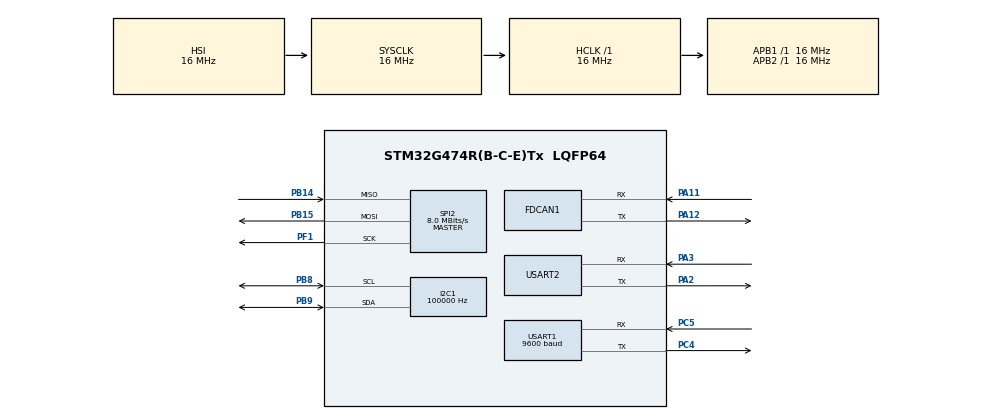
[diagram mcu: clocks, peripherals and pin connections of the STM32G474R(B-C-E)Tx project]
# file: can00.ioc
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Dma.Request0=USART1_RX
Dma.USART1_RX.0.Direction=DMA_PERIPH_TO_MEMORY
Dma.USART1_RX.0.EventEnable=DISABLE
Dma.USART1_RX.0.Instance=DMA1_Channel1
Dma.USART1_RX.0.MemDataAlignment=DMA_MDATAALIGN_BYTE
Dma.USART1_RX.0.MemInc=DMA_MINC_ENABLE
Dma.USART1_RX.0.Mode=DMA_CIRCULAR
Dma.USART1_RX.0.PeriphDataAlignment=DMA_PDATAALIGN_BYTE
Dma.USART1_RX.0.PeriphInc=DMA_PINC_DISABLE
Dma.USART1_RX.0.Polarity=HAL_DMAMUX_REQ_GEN_RISING
Dma.USART1_RX.0.Priority=DMA_PRIORITY_LOW
Dma.USART1_RX.0.RequestNumber=1
Dma.USART1_RX.0.SignalID=NONE
Dma.USART1_RX.0.SyncEnable=DISABLE
Dma.USART1_RX.0.SyncPolarity=HAL_DMAMUX_SYNC_NO_EVENT
Dma.USART1_RX.0.SyncRequestNumber=1
Dma.USART1_RX.0.SyncSignalID=NONE
FDCAN1.AutoRetransmission=ENABLE
FDCAN1.CalculateBaudRateNominal=500000
FDCAN1.CalculateTimeBitNominal=2000
FDCAN1.CalculateTimeQuantumNominal=250.0
FDCAN1.DataPrescaler=1
FDCAN1.DataTimeSeg1=1
FDCAN1.FrameFormat=FDCAN_FRAME_CLASSIC
FDCAN1.Mode=FDCAN_MODE_NORMAL
FDCAN1.NominalPrescaler=4
FDCAN1.NominalTimeSeg1=6
FDCAN1.StdFiltersNbr=1
FREERTOS.Tasks01=defaultTask,24,128,StartDefaultTask,Default,NULL,Dynamic,NULL,NULL
Mcu.Family=STM32G4
Mcu.Name=STM32G474R(B-C-E)Tx
Mcu.Package=LQFP64
NVIC.DMA1_Channel1_IRQn=true\:5\:0\:false\:false\:true\:true\:false\:true\:true
NVIC.FDCAN1_IT0_IRQn=true\:5\:0\:false\:false\:true\:true\:true\:true\:true
NVIC.PriorityGroup=NVIC_PRIORITYGROUP_4
NVIC.USART1_IRQn=true\:5\:0\:false\:false\:true\:true\:false\:true\:true
NVIC.USART2_IRQn=true\:5\:0\:false\:false\:true\:true\:false\:true\:true
PA11.Mode=FDCAN_Activate
PA11.Signal=FDCAN1_RX
PA12.Mode=FDCAN_Activate
PA12.Signal=FDCAN1_TX
PA2.Mode=Asynchronous
PA2.Signal=USART2_TX
PA3.Mode=Asynchronous
PA3.Signal=USART2_RX
PB14.Mode=Full_Duplex_Master
PB14.Signal=SPI2_MISO
PB15.Mode=Full_Duplex_Master
PB15.Signal=SPI2_MOSI
PB8.Mode=I2C
PB8.Signal=I2C1_SCL
PB9.Mode=I2C
PB9.Signal=I2C1_SDA
PC4.Mode=Asynchronous
PC4.Signal=USART1_TX
PC5.Mode=Asynchronous
PC5.Signal=USART1_RX
PF1-OSC_OUT.Mode=Full_Duplex_Master
PF1-OSC_OUT.Signal=SPI2_SCK
ProjectManager.HeapSize=0x200
ProjectManager.StackSize=0x400
ProjectManager.TargetToolchain=MDK-ARM V5.32
RCC.AHBFreq_Value=16000000
RCC.APB1Freq_Value=16000000
RCC.APB1TimFreq_Value=16000000
RCC.APB2Freq_Value=16000000
RCC.APB2TimFreq_Value=16000000
RCC.CortexFreq_Value=16000000
RCC.EXTERNAL_CLOCK_VALUE=12288000
RCC.HCLKFreq_Value=16000000
RCC.HSE_VALUE=8000000
RCC.HSI48_VALUE=48000000
RCC.HSI_VALUE=16000000
RCC.LSE_VALUE=32768
RCC.SYSCLKFreq_VALUE=16000000
RCC.USBFreq_Value=64000000
RCC.VCOOutputFreq_Value=128000000
SPI2.CLKPhase=SPI_PHASE_1EDGE
SPI2.CalculateBaudRate=8.0 MBits/s
SPI2.DataSize=SPI_DATASIZE_8BIT
SPI2.Direction=SPI_DIRECTION_2LINES
SPI2.Mode=SPI_MODE_MASTER
SPI2.VirtualType=VM_MASTER
USART1.BaudRate=9600
USART1.VirtualMode-Asynchronous=VM_ASYNC
USART2.VirtualMode-Asynchronous=VM_ASYNC
I2C1.ClockSpeed=100000
I2C1.DutyCycle=I2C_DUTYCYCLE_2
I2C1.OwnAddress1=0
I2C1.AddressingMode=I2C_ADDRESSINGMODE_7BIT
I2C1.DualAddressMode=I2C_DUALADDRESS_DISABLE
I2C1.OwnAddress2=0
I2C1.GeneralCallMode=I2C_GENERALCALL_DISABLE
I2C1.NoStretchMode=I2C_NOSTRETCH_DISABLE
IWDG.Prescaler=IWDG_PRESCALER_64
IWDG.Reload=3999
IWDG.Window=IWDG_WINDOW_DISABLE
VP_FREERTOS_VS_CMSIS_V2.Mode=CMSIS_V2
VP_SYS_VS_DBSignals.Mode=DisableDeadBatterySignals
board=custom

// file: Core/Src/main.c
/* USER CODE BEGIN Header */
/**
  ******************************************************************************
  * @file           : main.c
  * @brief          : Main program body
  ******************************************************************************
  * @attention
  *
  * Copyright (c) 2026 STMicroelectronics.
  * All rights reserved.
  *
  * This software is licensed under terms that can be found in the LICENSE file
  * in the root directory of this software component.
  * If no LICENSE file comes with this software, it is provided AS-IS.
  *
  ******************************************************************************
  */
/* USER CODE END Header */
#include "main.h"
#include "cmsis_os.h"
#include "canopen_node_config.h"
#include "canopen_port.h"
#include "esp32_at.h"
#include "esp32_mqtt_config.h"
#include "ssd1306.h"
#include "vehicle_alarm.h"
#include "accident_detector.h"
#include <stdio.h>

/* USER CODE BEGIN PTD */

typedef struct
{
  FDCAN_RxHeaderTypeDef header;
  uint8_t data[64];
} CanRxMessage_t;

typedef struct
{
  volatile uint32_t receivedCount;
  volatile uint32_t lastSequence;
  volatile uint32_t lostCount;
  volatile uint32_t lastReceiveTick;
  volatile uint32_t interArrivalMs;
  volatile uint32_t jitterMs;
  volatile uint32_t maxInterArrivalMs;
  volatile uint32_t maxJitterMs;
  volatile uint32_t senderTick;
  volatile uint32_t receiveTick;
  volatile uint8_t initialized;
} CanNodeStats_t; /* 瀹氫箟鑺傜偣缁熻缁撴瀯浣撶被鍨嬪悕绉般€?*/

/* USER CODE END PTD */

static uint8_t FdcanDataLengthBytes(uint32_t dataLengthCode)
{
  switch (dataLengthCode)
  {
    case FDCAN_DLC_BYTES_0: return 0U;
    case FDCAN_DLC_BYTES_1: return 1U;
    case FDCAN_DLC_BYTES_2: return 2U;
    case FDCAN_DLC_BYTES_3: return 3U;
    case FDCAN_DLC_BYTES_4: return 4U;
    case FDCAN_DLC_BYTES_5: return 5U;
    case FDCAN_DLC_BYTES_6: return 6U;
    case FDCAN_DLC_BYTES_7: return 7U;
    case FDCAN_DLC_BYTES_8: return 8U;
    case FDCAN_DLC_BYTES_12: return 12U;
    case FDCAN_DLC_BYTES_16: return 16U;
    case FDCAN_DLC_BYTES_20: return 20U;
    case FDCAN_DLC_BYTES_24: return 24U;
    case FDCAN_DLC_BYTES_32: return 32U;
    case FDCAN_DLC_BYTES_48: return 48U;
    case FDCAN_DLC_BYTES_64: return 64U;
    default: return 0U;
  }
}

/* USER CODE BEGIN PD */

#define CAN_ID_NODE_A 0x100U /* 鑺傜偣 A 鐨?ID 鏈€灏忥紝鍥犳鍏锋湁鏈€楂樹徊瑁佷紭鍏堢骇銆?*/
#define CAN_ID_NODE_B 0x300U /* 鑺傜偣 B 鐨勪徊瑁佷紭鍏堢骇浣庝簬鑺傜偣 A銆?*/
#define CAN_ID_NODE_C 0x500U /* 鑺傜偣 C 鐨勪徊瑁佷紭鍏堢骇鏈€浣庛€?*/
#define CAN_ID_TIME_SYNC 0x080U /* 鍚屾鎶ユ枃 ID 浣庝簬涓氬姟鎶ユ枃锛屽叿鏈夋洿楂樹徊瑁佷紭鍏堢骇銆?*/
#define CAN_TAG_NODE_A 0xA1U /* 鑺傜偣 A 鍦ㄦ暟鎹瓧鑺?4 涓啓鍏ユ鏍囪瘑銆?*/
#define CAN_TAG_NODE_B 0xB1U /* 鑺傜偣 B 鍦ㄦ暟鎹瓧鑺?4 涓啓鍏ユ鏍囪瘑銆?*/
#define CAN_TAG_NODE_C 0xC1U /* 鑺傜偣 C 鍦ㄦ暟鎹瓧鑺?4 涓啓鍏ユ鏍囪瘑銆?*/
#define CAN_TAG_TIME_SYNC 0x5AU /* 鎺ユ敹绔娇鐢ㄨ鏍囪瘑璇嗗埆鏃堕棿鍚屾鎶ユ枃銆?*/

#define CAN_NODE_A_PERIOD_MS 10U /* 鑺傜偣 A 鐨勭悊璁哄彂閫佸懆鏈熶负 10 ms銆?*/
#define CAN_NODE_B_PERIOD_MS 20U /* 鑺傜偣 B 鐨勭悊璁哄彂閫佸懆鏈熶负 20 ms銆?*/
#define CAN_NODE_C_PERIOD_MS 100U /* 鑺傜偣 C 鐨勭悊璁哄彂閫佸懆鏈熶负 100 ms銆?*/
#define CAN_TIME_SYNC_PERIOD_MS 100U /* 鑺傜偣 A 姣?100 ms 鍙戝竷涓€娆′富鏃堕挓銆?*/
#define CAN_LEGACY_TIME_SYNC_ENABLE 0U /* CANopen 宸ョ▼涓嶅啀鍙戦€佽嚜瀹氫箟鏃堕棿鎴冲悓姝ュ抚銆?*/
#define CAN_TIMESTAMP_OFFSET 8U /* 鍙戦€佹椂闂存埑浠庢暟鎹瓧鑺?8 寮€濮嬪瓨鏀俱€?*/
#define CAN_SCHED_MODE_FIXED_PRIORITY 0U /* 浣跨敤鍥哄畾 CAN ID 鍜屽浐瀹氬彂閫佸懆鏈熴€?*/
#define CAN_SCHED_MODE CAN_SCHED_MODE_FIXED_PRIORITY /* 鍚庣画绛栫暐瀵规瘮鏃跺彲鎵╁睍姝ゅ畯銆?*/

#if (CAN_NODE_ROLE == CAN_NODE_ROLE_A) /* 鍒ゆ柇鏄惁缂栬瘧鑺傜偣 A 鍥轰欢銆?*/
#define CAN_LOCAL_TX_ID CAN_ID_NODE_A /* 鑺傜偣 A 浣跨敤鏈€楂樹紭鍏堢骇鐨?0x100銆?*/
#define CAN_LOCAL_NODE_TAG CAN_TAG_NODE_A /* 鑺傜偣 A 鍐欏叆鑷繁鐨勫簲鐢ㄥ眰鏍囪瘑銆?*/
#define CAN_LOCAL_TX_PERIOD_MS CAN_NODE_A_PERIOD_MS /* 鑺傜偣 A 姣?10 ms 鍙戦€佷竴甯ф帶鍒舵姤鏂囥€?*/
#elif (CAN_NODE_ROLE == CAN_NODE_ROLE_B) /* 鍒ゆ柇鏄惁缂栬瘧鑺傜偣 B 鍥轰欢銆?*/
#define CAN_LOCAL_TX_ID CAN_ID_NODE_B /* 鑺傜偣 B 浣跨敤涓紭鍏堢骇鐨?0x300銆?*/
#define CAN_LOCAL_NODE_TAG CAN_TAG_NODE_B /* 鑺傜偣 B 鍐欏叆鑷繁鐨勫簲鐢ㄥ眰鏍囪瘑銆?*/
#define CAN_LOCAL_TX_PERIOD_MS CAN_NODE_B_PERIOD_MS /* 鑺傜偣 B 姣?20 ms 鍙戦€佷竴甯х姸鎬佹姤鏂囥€?*/
#elif (CAN_NODE_ROLE == CAN_NODE_ROLE_C) /* 鍒ゆ柇鏄惁缂栬瘧鑺傜偣 C 鍥轰欢銆?*/
#define CAN_LOCAL_TX_ID CAN_ID_NODE_C /* 鑺傜偣 C 浣跨敤浣庝紭鍏堢骇鐨?0x500銆?*/
#define CAN_LOCAL_NODE_TAG CAN_TAG_NODE_C /* 鑺傜偣 C 鍐欏叆鑷繁鐨勫簲鐢ㄥ眰鏍囪瘑銆?*/
#define CAN_LOCAL_TX_PERIOD_MS CAN_NODE_C_PERIOD_MS /* 鑺傜偣 C 姣?100 ms 鍙戦€佷竴甯х洃娴嬫姤鏂囥€?*/
#else /* 褰撳墠瑙掕壊缂栧彿涓嶅湪鍏佽鑼冨洿鍐呫€?*/
#error "CAN_NODE_ROLE 蹇呴』璁剧疆涓?CAN_NODE_ROLE_A銆丆AN_NODE_ROLE_B 鎴?CAN_NODE_ROLE_C" /* 闃绘鐢熸垚瑙掕壊閰嶇疆閿欒鐨勫浐浠躲€?*/
#endif /* 缁撴潫鏈満鍙戦€佸弬鏁伴€夋嫨銆?*/

/* USER CODE END PD */

/* USER CODE BEGIN PM */

#define APP_LED_GPIO_Port GPIOA /* 瀹氫箟鐢ㄦ埛 LED 鎵€杩炴帴鐨?GPIO 绔彛銆?*/
#define APP_LED_Pin GPIO_PIN_5 /* 瀹氫箟鐢ㄦ埛 LED 鎵€杩炴帴鐨?GPIO 寮曡剼銆?*/

/* USER CODE END PM */

FDCAN_HandleTypeDef hfdcan1;

I2C_HandleTypeDef hi2c1;

SPI_HandleTypeDef hspi2;

UART_HandleTypeDef huart1;
UART_HandleTypeDef huart2;
DMA_HandleTypeDef hdma_usart1_rx;
IWDG_HandleTypeDef hiwdg;
volatile ESP32_Status_t esp32Status;
volatile VehicleAlarmStatus_t vehicleAlarmStatus;
  volatile AccidentDetectorStatus_t accidentStatus;
  static ESP32_AccidentPersist_t accidentPersistSnapshot;

osThreadId_t defaultTaskHandle;
const osThreadAttr_t defaultTask_attributes = {
  .name = "defaultTask",
  .priority = (osPriority_t) osPriorityNormal,
  .stack_size = 128 * 4
};
/* USER CODE BEGIN PV */

static QueueHandle_t canRxQueue;
static volatile uint32_t rxCount;
volatile CanOpenPortDiagnostics_t diagnostics;
volatile HAL_StatusTypeDef icm42688Status;
volatile uint8_t icm42688WhoAmI;
  volatile ICM42688_RawData_t icm42688RawData;
  volatile BH182_Data_t bh182Data;
  volatile HAL_StatusTypeDef bh182Status;
static uint32_t icm42688LastSampleTick;
#if (CAN_NODE_ROLE == CAN_NODE_ROLE_B)
#define APP_IMU_SAMPLE_PERIOD_MS 1U
#else
#define APP_IMU_SAMPLE_PERIOD_MS 10U
#endif
static uint32_t accidentLastUpdateTick;
static uint8_t lastReportedAccidentEvent;
static volatile uint32_t rxSequence;
static volatile uint32_t rxCountA;
static volatile uint32_t rxSequenceA;
static volatile uint32_t rxCountB;
static volatile uint32_t rxSequenceB;
static volatile uint32_t rxCountC;
static volatile uint32_t rxSequenceC;
static volatile uint32_t rxQueueDropCount;
static volatile CanNodeStats_t rxStatsA;
static volatile CanNodeStats_t rxStatsB;
static volatile CanNodeStats_t rxStatsC;
static volatile int32_t canTimeOffsetMs;
static volatile uint32_t canSyncRxCount;
static volatile uint32_t canMasterTick;
static volatile uint32_t canSyncLocalTick;
static volatile uint32_t canSyncOffsetAbsMs;
static TaskHandle_t canTxTaskHandle;
static TaskHandle_t canRxTaskHandle;

static TaskHandle_t canRecoveryTaskHandle;
static TaskHandle_t esp32MqttTaskHandle;
static volatile uint32_t appHeartbeatTick;
static uint32_t vehicleAlarmLastUpdateTick;
volatile HAL_StatusTypeDef oledStatus;
static TaskHandle_t oledTaskHandle;
static volatile uint32_t canErrorCallbackCount;
static volatile uint32_t canErrorWarningCount;
static volatile uint32_t canErrorPassiveCount;
static volatile uint32_t canBusOffCount;
static volatile uint8_t canBusOffActive;
static volatile uint32_t canRecoveryCount;
static volatile uint32_t canRecoveryFailCount;
static volatile uint32_t canRecoveryConsecutiveBusOff;
static volatile uint32_t canRecoveryLastBusOffTick;
static volatile uint32_t canRecoveryNextAttemptTick;
static volatile uint8_t canRecoveryLocked;

/* USER CODE END PV */

void SystemClock_Config(void);
static void MX_GPIO_Init(void);
static void MX_DMA_Init(void);
static void MX_FDCAN1_Init(void);
static void MX_I2C1_Init(void);
static void MX_SPI2_Init(void);
static void MX_USART1_UART_Init(void);
static void MX_USART2_UART_Init(void);
static void MX_IWDG_Init(void);
void StartDefaultTask(void *argument);

/* USER CODE BEGIN PFP */

static void CanTxTask(void *argument);
static void CanRxTask(void *argument);
static void CanRecoveryTask(void *argument);
static void CanRecovery_RecordFailure(void);
static void IwdgMonitorTask(void *argument);
static void OledDashboardTask(void *argument);
static uint32_t CanDecodeSequence(const uint8_t *data);
static uint32_t CanDecodeTimestamp(const uint8_t *data);
static void CanUpdateNodeStats(volatile CanNodeStats_t *stats, /* 浼犲叆寰呮洿鏂扮殑鑺傜偣缁熻瀵硅薄銆?*/
                               uint32_t receivedSequence, /* 浼犲叆褰撳墠鎶ユ枃鐨勫簲鐢ㄥ眰搴忓彿銆?*/
                               uint32_t senderTick, /* 浼犲叆褰撳墠鎶ユ枃鐨勫彂閫佺鑺傛媿銆?*/
                               uint32_t expectedPeriodMs); /* 浼犲叆璇ヨ妭鐐圭殑鐞嗚鍛ㄦ湡銆?*/
static uint32_t CanGetGlobalTick(void);

/* USER CODE END PFP */

int main(void)
{

  HAL_Init();

  SystemClock_Config();

  MX_IWDG_Init();

  MX_GPIO_Init();
  MX_DMA_Init();
  MX_FDCAN1_Init();
  MX_I2C1_Init();
  MX_SPI2_Init();
  MX_USART1_UART_Init();
  MX_USART2_UART_Init();
  /* USER CODE BEGIN 2 */
  icm42688Status = ICM42688_Init(&hspi2, GPIOB, GPIO_PIN_12);
  if (icm42688Status == HAL_OK)
  {
    icm42688Status = ICM42688_ReadWhoAmI((uint8_t *)&icm42688WhoAmI);
  }
  if (BH182_Init(&huart1) != HAL_OK)
  {
    bh182Status = HAL_ERROR;
    memset((void *)&bh182Data, 0, sizeof(bh182Data));
  }
  else
  {
    bh182Status = BH182_Start();
  }
  if (ESP32_Init(&huart2) != HAL_OK)
  {
    esp32Status.state = ESP32_STATE_OFFLINE;
  }
  else
  {
    if (ESP32_StartReceive() != HAL_OK)
    {
      esp32Status.state = ESP32_STATE_OFFLINE;
    }
  }
  oledStatus = SSD1306_Init(&hi2c1, (uint16_t)(0x3CU << 1U));
  VehicleAlarm_Init();
  AccidentDetector_Init();
  if (ESP32_Persist_LoadAccident(&accidentPersistSnapshot) == HAL_OK)
  {
    AccidentDetector_RestoreLastEventId(accidentPersistSnapshot.lastEventId);
  }
////////////////////////////////////////////閰嶇疆杩囨护鍣ㄥ苟鍚姩 FDCAN1/////////////////////////////////////////
  FDCAN_FilterTypeDef canFilter = {0};
  canFilter.IdType = FDCAN_STANDARD_ID;
  canFilter.FilterIndex = 0U;
  canFilter.FilterType = FDCAN_FILTER_MASK;
  canFilter.FilterConfig = FDCAN_FILTER_TO_RXFIFO0;
  canFilter.FilterID1 = 0x000U;
  canFilter.FilterID2 = 0x000U;
  if (HAL_FDCAN_ConfigFilter(&hfdcan1, &canFilter) != HAL_OK)
  {
    Error_Handler();
  }
  if (HAL_FDCAN_ConfigGlobalFilter(&hfdcan1, /* 閰嶇疆 FDCAN1 鐨勫叏灞€杩囨护鍣ㄣ€?*/
                                   FDCAN_ACCEPT_IN_RX_FIFO0, /* 灏嗘湭鍖归厤鐨勬爣鍑嗗抚璺敱鍒?RX FIFO0銆?*/
                                   FDCAN_ACCEPT_IN_RX_FIFO0, /* 灏嗘湭鍖归厤鐨勬墿灞曞抚璺敱鍒?RX FIFO0銆?*/
                                   FDCAN_REJECT_REMOTE, /* 鎷掔粷鏈尮閰嶇殑鏍囧噯杩滅▼甯с€?*/
                                   FDCAN_REJECT_REMOTE) != HAL_OK) /* 鎷掔粷鏈尮閰嶇殑鎵╁睍杩滅▼甯с€?*/
  {
    Error_Handler();
  }
  if (HAL_FDCAN_Start(&hfdcan1) != HAL_OK)
  {
    Error_Handler();
  }
  if (CanOpenPort_StackInit(CANOPEN_NODE_ID) != CO_ERROR_NO)
  {
    Error_Handler();
  }
  if (HAL_FDCAN_ActivateNotification(&hfdcan1, /* 涓?FDCAN1 寮€鍚€氱煡鍔熻兘銆?*/
                                     FDCAN_IT_RX_FIFO0_NEW_MESSAGE | /* 寮€鍚?RX FIFO0 鏂版姤鏂囦腑鏂€?*/
                                     FDCAN_IT_ERROR_WARNING | /* 寮€鍚?Error Warning 鐘舵€佸彉鍖栦腑鏂€?*/
                                     FDCAN_IT_ERROR_PASSIVE | /* 寮€鍚?Error Passive 鐘舵€佸彉鍖栦腑鏂€?*/
                                     FDCAN_IT_BUS_OFF, /* 寮€鍚?Bus-Off 鐘舵€佸彉鍖栦腑鏂€?*/
                                     0U) != HAL_OK) /* 涓嶅紑鍚?TX 缂撳啿鍖轰腑鏂帺鐮併€?*/
  {
    Error_Handler();
  }

  /* USER CODE END 2 */

  osKernelInitialize();

  /* USER CODE BEGIN RTOS_QUEUES */
  canRxQueue = xQueueCreate(8U, sizeof(CanRxMessage_t));
  if (canRxQueue == NULL)
  {
    Error_Handler();
  }
  /* USER CODE END RTOS_QUEUES */

  defaultTaskHandle = osThreadNew(StartDefaultTask, NULL, &defaultTask_attributes);

  /* USER CODE BEGIN RTOS_THREADS */
  if (xTaskCreate(CanTxTask, /* 鎸囧畾鍙戦€佷换鍔″叆鍙ｅ嚱鏁般€?*/
                  "canTxTask", /* 鎸囧畾鍙戦€佷换鍔″悕绉般€?*/
                  256U, /* 涓哄彂閫佷换鍔″垎閰?256 涓?FreeRTOS 鏍堝瓧銆?*/
                  NULL, /* 鍙戦€佷换鍔′笉鎺ユ敹浠诲姟鍙傛暟銆?*/
                  tskIDLE_PRIORITY + 2U, /* 灏嗗彂閫佷换鍔¤缃负鏅€氫紭鍏堢骇銆?*/
                  &canTxTaskHandle) != pdPASS) /* 妫€鏌ュ彂閫佷换鍔″垱寤虹粨鏋溿€?*/
  {
    Error_Handler();
  }
  if (xTaskCreate(CanRxTask, /* 鎸囧畾鎺ユ敹浠诲姟鍏ュ彛鍑芥暟銆?*/
                  "canRxTask", /* 鎸囧畾鎺ユ敹浠诲姟鍚嶇О銆?*/
                  256U, /* 涓烘帴鏀朵换鍔″垎閰?256 涓?FreeRTOS 鏍堝瓧銆?*/
                  NULL, /* 鎺ユ敹浠诲姟涓嶆帴鏀朵换鍔″弬鏁般€?*/
                  tskIDLE_PRIORITY + 3U, /* 灏嗘帴鏀朵换鍔¤缃负楂樹簬鍙戦€佷换鍔°€?*/
                  &canRxTaskHandle) != pdPASS) /* 妫€鏌ユ帴鏀朵换鍔″垱寤虹粨鏋溿€?*/
  {
    Error_Handler();
  }
  if (xTaskCreate(CanRecoveryTask, /* 鎸囧畾 CAN 鏁呴殰鎭㈠浠诲姟鍏ュ彛鍑芥暟銆?*/
                  "canRecoveryTask", /* 鎸囧畾 CAN 鏁呴殰鎭㈠浠诲姟鍚嶇О銆?*/
                  256U, /* 涓烘仮澶嶄换鍔″垎閰?256 涓?FreeRTOS 鏍堝瓧銆?*/
                  NULL, /* 鎭㈠浠诲姟涓嶆帴鏀朵换鍔″弬鏁般€?*/
                  tskIDLE_PRIORITY + 4U, /* 璁剧疆鎭㈠浠诲姟浼樺厛绾ч珮浜庢敹鍙戜换鍔°€?*/
                  &canRecoveryTaskHandle) != pdPASS) /* 妫€鏌ユ仮澶嶄换鍔″垱寤虹粨鏋溿€?*/
  {
    Error_Handler();
  }
  CanOpenPort_RestoreAccidentState(&accidentPersistSnapshot);
  if (xTaskCreate(IwdgMonitorTask, /* 鎸囧畾鐪嬮棬鐙楃洃鎺т换鍔″叆鍙ｅ嚱鏁般€?*/
                  "iwdgMonitor", /* 鎸囧畾鐪嬮棬鐙椾换鍔″悕绉般€?*/
                  128U, /* 涓虹湅闂ㄧ嫍浠诲姟鍒嗛厤鏈€灏忚繍琛屾爤銆?*/
                  NULL, /* 鐪嬮棬鐙椾换鍔′笉鎺ユ敹浠诲姟鍙傛暟銆?*/
                  tskIDLE_PRIORITY + 5U, /* 璁剧疆楂樹簬搴旂敤浠诲姟鐨勪紭鍏堢骇銆?*/
                  NULL) != pdPASS) /* 妫€鏌ョ湅闂ㄧ嫍浠诲姟鍒涘缓缁撴灉銆?*/
  {
    Error_Handler();
  }
#if (CAN_NODE_ROLE == CAN_NODE_ROLE_A)
  if (xTaskCreate(OledDashboardTask, /* 鎸囧畾 OLED 鏄剧ず浠诲姟鍏ュ彛鍑芥暟銆?*/
                  "oledTask", /* 鎸囧畾 OLED 浠诲姟鍚嶇О銆?*/
                  384U, /* 涓烘牸寮忓寲瀛楃涓插拰鏄剧ず浠诲姟鍒嗛厤鏍堢┖闂淬€?*/
                  NULL, /* OLED 浠诲姟涓嶆帴鏀朵换鍔″弬鏁般€?*/
                  tskIDLE_PRIORITY + 1U, /* 璁剧疆浣庝簬 CAN 鎺ユ敹浠诲姟鐨勪紭鍏堢骇銆?*/
                  &oledTaskHandle) != pdPASS) /* 妫€鏌?OLED 浠诲姟鍒涘缓缁撴灉銆?*/
  {
    oledStatus = HAL_ERROR;
  }
  if (xTaskCreate(ESP32_MqttTask, /* 鎸囧畾 ESP32 MQTT 浠诲姟鍏ュ彛鍑芥暟銆?*/
                  "esp32Mqtt", /* 鎸囧畾 ESP32 MQTT 浠诲姟鍚嶇О銆?*/
                  512U, /* 涓?JSON 鍜?AT 鍛戒护缂撳瓨鍒嗛厤 512 涓?FreeRTOS 鏍堝瓧銆?*/
                  NULL, /* MQTT 浠诲姟涓嶆帴鏀朵换鍔″弬鏁般€?*/
                  tskIDLE_PRIORITY + 1U, /* 璁剧疆浣庝簬 CAN 鎺ユ敹浠诲姟鐨勬櫘閫氫紭鍏堢骇銆?*/
                  &esp32MqttTaskHandle) != pdPASS) /* 妫€鏌?MQTT 浠诲姟鍒涘缓缁撴灉銆?*/
  {
    esp32Status.state = ESP32_STATE_ERROR;
  }
#endif
  /* USER CODE END RTOS_THREADS */

  osKernelStart();

  while (1)
  {

  }
}

void SystemClock_Config(void)
{
  RCC_OscInitTypeDef RCC_OscInitStruct = {0};
  RCC_ClkInitTypeDef RCC_ClkInitStruct = {0};

  /** Configure the main internal regulator output voltage
  */
  HAL_PWREx_ControlVoltageScaling(PWR_REGULATOR_VOLTAGE_SCALE1);

  /** Initializes the RCC Oscillators according to the specified parameters
  * in the RCC_OscInitTypeDef structure.
  */
  RCC_OscInitStruct.OscillatorType = RCC_OSCILLATORTYPE_HSI;
  RCC_OscInitStruct.HSIState = RCC_HSI_ON;
  RCC_OscInitStruct.HSICalibrationValue = RCC_HSICALIBRATION_DEFAULT;
  RCC_OscInitStruct.PLL.PLLState = RCC_PLL_NONE;
  if (HAL_RCC_OscConfig(&RCC_OscInitStruct) != HAL_OK)
  {
    Error_Handler();
  }

  /** Initializes the CPU, AHB and APB buses clocks
  */
  RCC_ClkInitStruct.ClockType = RCC_CLOCKTYPE_HCLK|RCC_CLOCKTYPE_SYSCLK
                              |RCC_CLOCKTYPE_PCLK1|RCC_CLOCKTYPE_PCLK2;
  RCC_ClkInitStruct.SYSCLKSource = RCC_SYSCLKSOURCE_HSI;
  RCC_ClkInitStruct.AHBCLKDivider = RCC_SYSCLK_DIV1;
  RCC_ClkInitStruct.APB1CLKDivider = RCC_HCLK_DIV1;
  RCC_ClkInitStruct.APB2CLKDivider = RCC_HCLK_DIV1;

  if (HAL_RCC_ClockConfig(&RCC_ClkInitStruct, FLASH_LATENCY_0) != HAL_OK)
  {
    Error_Handler();
  }
}

static void MX_FDCAN1_Init(void)
{

  hfdcan1.Instance = FDCAN1;
  hfdcan1.Init.ClockDivider = FDCAN_CLOCK_DIV1;
  hfdcan1.Init.FrameFormat = FDCAN_FRAME_CLASSIC;
  hfdcan1.Init.Mode = FDCAN_MODE_NORMAL;
  hfdcan1.Init.AutoRetransmission = ENABLE;
  hfdcan1.Init.TransmitPause = DISABLE;
  hfdcan1.Init.ProtocolException = DISABLE;
  hfdcan1.Init.NominalPrescaler = 4;
  hfdcan1.Init.NominalSyncJumpWidth = 1;
  hfdcan1.Init.NominalTimeSeg1 = 6;
  hfdcan1.Init.NominalTimeSeg2 = 1;
  hfdcan1.Init.DataPrescaler = 1;
  hfdcan1.Init.DataSyncJumpWidth = 1;
  hfdcan1.Init.DataTimeSeg1 = 1;
  hfdcan1.Init.DataTimeSeg2 = 1;
  hfdcan1.Init.StdFiltersNbr = 1;
  hfdcan1.Init.ExtFiltersNbr = 0;
  hfdcan1.Init.TxFifoQueueMode = FDCAN_TX_FIFO_OPERATION;
  if (HAL_FDCAN_Init(&hfdcan1) != HAL_OK)
  {
    Error_Handler();
  }

}

static void MX_SPI2_Init(void)
{

  hspi2.Instance = SPI2;
  hspi2.Init.Mode = SPI_MODE_MASTER;
  hspi2.Init.Direction = SPI_DIRECTION_2LINES;
  hspi2.Init.DataSize = SPI_DATASIZE_8BIT;
  hspi2.Init.CLKPolarity = SPI_POLARITY_LOW;
  hspi2.Init.CLKPhase = SPI_PHASE_1EDGE;
  hspi2.Init.NSS = SPI_NSS_SOFT;
  hspi2.Init.BaudRatePrescaler = SPI_BAUDRATEPRESCALER_2;
  hspi2.Init.FirstBit = SPI_FIRSTBIT_MSB;
  hspi2.Init.TIMode = SPI_TIMODE_DISABLE;
  hspi2.Init.CRCCalculation = SPI_CRCCALCULATION_DISABLE;
  hspi2.Init.CRCPolynomial = 7;
  hspi2.Init.CRCLength = SPI_CRC_LENGTH_DATASIZE;
  hspi2.Init.NSSPMode = SPI_NSS_PULSE_ENABLE;
  if (HAL_SPI_Init(&hspi2) != HAL_OK)
  {
    Error_Handler();
  }

}

static void MX_USART1_UART_Init(void)
{

  huart1.Instance = USART1;
  huart1.Init.BaudRate = 9600;
  huart1.Init.WordLength = UART_WORDLENGTH_8B;
  huart1.Init.StopBits = UART_STOPBITS_1;
  huart1.Init.Parity = UART_PARITY_NONE;
  huart1.Init.Mode = UART_MODE_TX_RX;
  huart1.Init.HwFlowCtl = UART_HWCONTROL_NONE;
  huart1.Init.OverSampling = UART_OVERSAMPLING_16;
  huart1.Init.OneBitSampling = UART_ONE_BIT_SAMPLE_DISABLE;
  huart1.Init.ClockPrescaler = UART_PRESCALER_DIV1;
  huart1.AdvancedInit.AdvFeatureInit = UART_ADVFEATURE_NO_INIT;
  if (HAL_UART_Init(&huart1) != HAL_OK)
  {
    Error_Handler();
  }
  if (HAL_UARTEx_SetTxFifoThreshold(&huart1, UART_TXFIFO_THRESHOLD_1_8) != HAL_OK)
  {
    Error_Handler();
  }
  if (HAL_UARTEx_SetRxFifoThreshold(&huart1, UART_RXFIFO_THRESHOLD_1_8) != HAL_OK)
  {
    Error_Handler();
  }
  if (HAL_UARTEx_DisableFifoMode(&huart1) != HAL_OK)
  {
    Error_Handler();
  }

}

static void MX_USART2_UART_Init(void)
{

  huart2.Instance = USART2;
  huart2.Init.BaudRate = 115200;
  huart2.Init.WordLength = UART_WORDLENGTH_8B;
  huart2.Init.StopBits = UART_STOPBITS_1;
  huart2.Init.Parity = UART_PARITY_NONE;
  huart2.Init.Mode = UART_MODE_TX_RX;
  huart2.Init.HwFlowCtl = UART_HWCONTROL_NONE;
  huart2.Init.OverSampling = UART_OVERSAMPLING_16;
  huart2.Init.OneBitSampling = UART_ONE_BIT_SAMPLE_DISABLE;
  huart2.Init.ClockPrescaler = UART_PRESCALER_DIV1;
  huart2.AdvancedInit.AdvFeatureInit = UART_ADVFEATURE_NO_INIT;
  if (HAL_UART_Init(&huart2) != HAL_OK)
  {
    Error_Handler();
  }
  if (HAL_UARTEx_SetTxFifoThreshold(&huart2, UART_TXFIFO_THRESHOLD_1_8) != HAL_OK)
  {
    Error_Handler();
  }
  if (HAL_UARTEx_SetRxFifoThreshold(&huart2, UART_RXFIFO_THRESHOLD_1_8) != HAL_OK)
  {
    Error_Handler();
  }
  if (HAL_UARTEx_DisableFifoMode(&huart2) != HAL_OK)
  {
    Error_Handler();
  }

}

static void MX_IWDG_Init(void)
{
  hiwdg.Instance = IWDG;
  hiwdg.Init.Prescaler = IWDG_PRESCALER_64;
  hiwdg.Init.Reload = 3999U;
  hiwdg.Init.Window = IWDG_WINDOW_DISABLE;
  if (HAL_IWDG_Init(&hiwdg) != HAL_OK)
  {
    Error_Handler();
  }
}

static void MX_I2C1_Init(void)
{
  hi2c1.Instance = I2C1;
  hi2c1.Init.Timing = 0x00303D5BU;
  hi2c1.Init.OwnAddress1 = 0U;
  hi2c1.Init.AddressingMode = I2C_ADDRESSINGMODE_7BIT;
  hi2c1.Init.DualAddressMode = I2C_DUALADDRESS_DISABLE;
  hi2c1.Init.OwnAddress2 = 0U;
  hi2c1.Init.OwnAddress2Masks = I2C_OA2_NOMASK;
  hi2c1.Init.GeneralCallMode = I2C_GENERALCALL_DISABLE;
  hi2c1.Init.NoStretchMode = I2C_NOSTRETCH_DISABLE;
  if (HAL_I2C_Init(&hi2c1) != HAL_OK)
  {
    Error_Handler();
  }
  if (HAL_I2CEx_ConfigAnalogFilter(&hi2c1, I2C_ANALOGFILTER_ENABLE) != HAL_OK)
  {
    Error_Handler();
  }
}

static void MX_DMA_Init(void)
{

  __HAL_RCC_DMAMUX1_CLK_ENABLE();
  __HAL_RCC_DMA1_CLK_ENABLE();

  HAL_NVIC_SetPriority(DMA1_Channel1_IRQn, 5, 0);
  HAL_NVIC_EnableIRQ(DMA1_Channel1_IRQn);

}

static void MX_GPIO_Init(void)
{

  __HAL_RCC_GPIOF_CLK_ENABLE();
  __HAL_RCC_GPIOA_CLK_ENABLE();
  __HAL_RCC_GPIOC_CLK_ENABLE();
  __HAL_RCC_GPIOB_CLK_ENABLE();

  /* USER CODE BEGIN MX_GPIO_Init_2 */

  GPIO_InitTypeDef gpioInit = {0};
  GPIO_InitTypeDef icmCsInit = {0};
  HAL_GPIO_WritePin(APP_LED_GPIO_Port, APP_LED_Pin, GPIO_PIN_RESET);
  gpioInit.Pin = APP_LED_Pin;
  gpioInit.Mode = GPIO_MODE_OUTPUT_PP;
  gpioInit.Pull = GPIO_NOPULL;
  gpioInit.Speed = GPIO_SPEED_FREQ_LOW;
  HAL_GPIO_Init(APP_LED_GPIO_Port, &gpioInit);

  HAL_GPIO_WritePin(GPIOB, GPIO_PIN_12, GPIO_PIN_SET);
  icmCsInit.Pin = GPIO_PIN_12;
  icmCsInit.Mode = GPIO_MODE_OUTPUT_PP;
  icmCsInit.Pull = GPIO_NOPULL;
  icmCsInit.Speed = GPIO_SPEED_FREQ_HIGH;
  HAL_GPIO_Init(GPIOB, &icmCsInit);

  /* USER CODE END MX_GPIO_Init_2 */
}

/* USER CODE BEGIN 4 */

void HAL_FDCAN_RxFifo0Callback(FDCAN_HandleTypeDef *hfdcan, uint32_t rxFifo0Interrupts)
{
  CanRxMessage_t message = {0};
  uint32_t syncReceiveTick = 0U;
  if ((hfdcan == &hfdcan1) && /* 鍙帴鍙楁潵鑷?FDCAN1 瀹炰緥鐨勫洖璋冦€?*/
      ((rxFifo0Interrupts & FDCAN_IT_RX_FIFO0_NEW_MESSAGE) != 0U)) /* 鍙帴鍙?RX FIFO0 鏂版姤鏂囦簨浠躲€?*/
  {
    if (HAL_FDCAN_GetRxMessage(hfdcan, /* 浠庤Е鍙戝洖璋冪殑 FDCAN 瀹炰緥璇诲彇鎶ユ枃銆?*/
                               FDCAN_RX_FIFO0, /* 浠?RX FIFO0 璇诲彇寰呭鐞嗘姤鏂囥€?*/
                               &message.header, /* 灏嗘帴鏀舵姤鏂囧ご淇濆瓨鍒版湰鍦版姤鏂囧璞°€?*/
                               message.data) == HAL_OK) /* 灏嗘帴鏀舵暟鎹繚瀛樺埌鏈湴鎶ユ枃瀵硅薄銆?*/
    {
      CanOpenPort_RxInterrupt(message.header.Identifier,
                              FdcanDataLengthBytes(message.header.DataLength),
                              message.data);
      syncReceiveTick = HAL_GetTick();
#if (CAN_LEGACY_TIME_SYNC_ENABLE == 1U)
      if ((message.header.Identifier == CAN_ID_TIME_SYNC) && /* 妫€鏌ュ悓姝ユ姤鏂?ID銆?*/
          (message.header.IdType == FDCAN_STANDARD_ID) && /* 妫€鏌ュ悓姝ユ姤鏂囦娇鐢ㄦ爣鍑?ID銆?*/
          (message.header.DataLength == FDCAN_DLC_BYTES_8) && /* 妫€鏌ュ悓姝ユ姤鏂囦负 8 瀛楄妭 Classic CAN 甯с€?*/
          (message.header.FDFormat == FDCAN_CLASSIC_CAN) && /* 妫€鏌ュ悓姝ユ姤鏂囦负 Classic CAN 鏍煎紡銆?*/
          (message.header.BitRateSwitch == FDCAN_BRS_OFF) && /* 妫€鏌ュ悓姝ユ姤鏂囧叧闂?BRS銆?*/
          (message.data[4] == CAN_TAG_TIME_SYNC)) /* 妫€鏌ュ悓姝ユ姤鏂囨暟鎹爣璇嗐€?*/
      {
#if (CAN_NODE_ROLE != CAN_NODE_ROLE_A) /* 浠?B銆丆 鑺傜偣闇€瑕佽绠楃浉瀵?A 鐨勬椂閽熷亸绉汇€?*/
        uint32_t receivedMasterTick = CanDecodeTimestamp(message.data);
        canMasterTick = receivedMasterTick;
        canSyncLocalTick = syncReceiveTick;
        canTimeOffsetMs = (int32_t)(syncReceiveTick - receivedMasterTick);
        canSyncOffsetAbsMs = (uint32_t)(canTimeOffsetMs >= 0 ? canTimeOffsetMs : -canTimeOffsetMs);
        canSyncRxCount++;
#endif /* 缁撴潫 B銆丆 鑺傜偣鏃堕棿鍋忕Щ璁＄畻銆?*/
        return;
      }
#endif /* 缁撴潫鏃х増鑷畾涔夋椂闂村悓姝ュ抚瑙ｆ瀽銆?*/
      BaseType_t xHigherPriorityTaskWoken = pdFALSE;
      if (xQueueSendToBackFromISR(canRxQueue, /* 鎸囧畾鎺ユ敹娑堟伅闃熷垪銆?*/
                                  &message, /* 灏嗘姤鏂囧ご鍜屾暟鎹鍒跺埌闃熷垪銆?*/
                                  &xHigherPriorityTaskWoken) != pdPASS) /* 鍦ㄤ腑鏂腑涓嶇瓑寰呴槦鍒楃┖闂淬€傦紙xHigherPriorityTaskWoken杈撳嚭鍙傛暟锛?*/
      {
        rxQueueDropCount++;
      }
      portYIELD_FROM_ISR(xHigherPriorityTaskWoken); /* 锛堢敤xHigherPriorityTaskWoken璇锋眰涓婁笅鏂囧垏鎹級 */
    }
  }
}

void HAL_UART_RxCpltCallback(UART_HandleTypeDef *huart)
{
  if (huart == &huart2)
  {
    ESP32_OnRxComplete();
  }
}

void HAL_UART_ErrorCallback(UART_HandleTypeDef *huart)
{
  if (huart == &huart2)
  {
    ESP32_OnUartError();
  }
}

void HAL_FDCAN_ErrorStatusCallback(FDCAN_HandleTypeDef *hfdcan, uint32_t ErrorStatusITs)
{
  if ((hfdcan == &hfdcan1) && (ErrorStatusITs != 0U))
  {
    BaseType_t xHigherPriorityTaskWoken = pdFALSE;
    if ((ErrorStatusITs & FDCAN_IT_ERROR_WARNING) != 0U)
    {
      canErrorWarningCount++;
    }
    if ((ErrorStatusITs & FDCAN_IT_ERROR_PASSIVE) != 0U)
    {
      canErrorPassiveCount++;
    }
    if ((ErrorStatusITs & FDCAN_IT_BUS_OFF) != 0U)
    {
      canBusOffCount++;
      canBusOffActive = 1U;
      if (canRecoveryConsecutiveBusOff < 0xFFFFFFFFUL)
      {
        canRecoveryConsecutiveBusOff++;
      }
      canRecoveryLastBusOffTick = HAL_GetTick();
      canRecoveryNextAttemptTick = canRecoveryLastBusOffTick + CAN_BUS_RECOVERY_BASE_DELAY_MS;
      if (canRecoveryTaskHandle != NULL)
      {
        if (canRecoveryLocked == 0U)
        {
          vTaskNotifyGiveFromISR(canRecoveryTaskHandle, &xHigherPriorityTaskWoken);
          portYIELD_FROM_ISR(xHigherPriorityTaskWoken);
        }
      }
    }
  }
}

void HAL_FDCAN_ErrorCallback(FDCAN_HandleTypeDef *hfdcan)
{
  if (hfdcan == &hfdcan1)
  {
    canErrorCallbackCount++;
  }
}

static void CanRecoveryTask(void *argument)
{
  (void)argument;
  uint32_t notification;
  uint32_t nowTick;
  uint32_t recoveryDelayMs;
  for (;;)
  {
    notification = ulTaskNotifyTake(pdTRUE, pdMS_TO_TICKS(1000U));
    nowTick = HAL_GetTick();
    if ((notification == 0U) &&
        (canRecoveryLocked == 0U) &&
        (canRecoveryConsecutiveBusOff != 0U) &&
        (canBusOffActive == 0U) &&
        ((nowTick - canRecoveryLastBusOffTick) >= CAN_BUS_RECOVERY_STABLE_TIME_MS))
    {
      canRecoveryConsecutiveBusOff = 0U;
      continue;
    }
    if (canRecoveryLocked != 0U)
    {
      canBusOffActive = 1U;
      continue;
    }
    if (canRecoveryConsecutiveBusOff > CAN_BUS_RECOVERY_BACKOFF_LIMIT)
    {
      canRecoveryLocked = 1U;
      canBusOffActive = 1U;
      continue;
    }
    if (canRecoveryConsecutiveBusOff <= CAN_BUS_RECOVERY_FAST_ATTEMPT_LIMIT)
    {
      recoveryDelayMs = CAN_BUS_RECOVERY_BASE_DELAY_MS;
    }
    else
    {
      recoveryDelayMs = CAN_BUS_RECOVERY_BASE_DELAY_MS <<
                        (canRecoveryConsecutiveBusOff -
                         CAN_BUS_RECOVERY_FAST_ATTEMPT_LIMIT);
    }
    if (notification != 0U)
    {
      canRecoveryNextAttemptTick = nowTick + recoveryDelayMs;
    }
    if ((int32_t)(nowTick - canRecoveryNextAttemptTick) < 0)
    {
      continue;
    }
    if (HAL_FDCAN_Stop(&hfdcan1) == HAL_OK)
    {
      vTaskDelay(pdMS_TO_TICKS(10U));
      if (HAL_FDCAN_Start(&hfdcan1) == HAL_OK)
      {
        FDCAN_ProtocolStatusTypeDef protocolStatus = {0};
        if ((HAL_FDCAN_ActivateNotification(&hfdcan1,
                                             FDCAN_IT_RX_FIFO0_NEW_MESSAGE |
                                             FDCAN_IT_ERROR_WARNING |
                                             FDCAN_IT_ERROR_PASSIVE |
                                             FDCAN_IT_BUS_OFF,
                                             0U) == HAL_OK) &&
            (HAL_FDCAN_GetProtocolStatus(&hfdcan1, &protocolStatus) == HAL_OK) &&
            (protocolStatus.BusOff == 0U))
        {
          canRecoveryCount++;
          canBusOffActive = 0U;
          canRecoveryNextAttemptTick = 0U;
        }
        else
        {
          CanRecovery_RecordFailure();
        }
      }
      else
      {
        CanRecovery_RecordFailure();
      }
    }
    else
    {
      CanRecovery_RecordFailure();
    }
  }
}

static void CanRecovery_RecordFailure(void)
{
  uint32_t retryDelayMs = CAN_BUS_RECOVERY_BASE_DELAY_MS;
  canRecoveryFailCount++;
  canBusOffActive = 1U;
  if (canRecoveryConsecutiveBusOff < 0xFFFFFFFFUL)
  {
    canRecoveryConsecutiveBusOff++;
  }
  if (canRecoveryConsecutiveBusOff > CAN_BUS_RECOVERY_BACKOFF_LIMIT)
  {
    canRecoveryLocked = 1U;
    canRecoveryNextAttemptTick = 0U;
  }
  else
  {
    if (canRecoveryConsecutiveBusOff > CAN_BUS_RECOVERY_FAST_ATTEMPT_LIMIT)
    {
      retryDelayMs <<= (canRecoveryConsecutiveBusOff -
                        CAN_BUS_RECOVERY_FAST_ATTEMPT_LIMIT);
    }
    canRecoveryNextAttemptTick = HAL_GetTick() + retryDelayMs;
  }
}

static void IwdgMonitorTask(void *argument)
{
  (void)argument;
  uint32_t nowTick = 0U;
  for (;;)
  {
    nowTick = HAL_GetTick();
    if ((nowTick - appHeartbeatTick) < ESP32_IWDG_TIMEOUT_MS)
    {
      (void)HAL_IWDG_Refresh(&hiwdg);
    }
    vTaskDelay(pdMS_TO_TICKS(ESP32_IWDG_REFRESH_PERIOD_MS));
  }
}

static void CanTxTask(void *argument)
{
  (void)argument;
  FDCAN_TxHeaderTypeDef txHeader = {0};
  uint8_t txData[8] = {0};
  uint32_t sequence = 0U;
  uint32_t transmitTick = 0U;
  uint32_t syncSequence = 0U;
  uint32_t lastSyncTick = 0U;
  FDCAN_TxHeaderTypeDef syncHeader = {0};
  uint8_t syncData[8] = {0};
  txHeader.Identifier = CAN_LOCAL_TX_ID;
  txHeader.IdType = FDCAN_STANDARD_ID;
  txHeader.TxFrameType = FDCAN_DATA_FRAME;
  txHeader.DataLength = FDCAN_DLC_BYTES_8;
  txHeader.ErrorStateIndicator = FDCAN_ESI_ACTIVE;
  txHeader.BitRateSwitch = FDCAN_BRS_OFF;
  txHeader.FDFormat = FDCAN_CLASSIC_CAN;
  txHeader.TxEventFifoControl = FDCAN_NO_TX_EVENTS;
  txHeader.MessageMarker = 0U;
  syncHeader.Identifier = CAN_ID_TIME_SYNC;
  syncHeader.IdType = FDCAN_STANDARD_ID;
  syncHeader.TxFrameType = FDCAN_DATA_FRAME;
  syncHeader.DataLength = FDCAN_DLC_BYTES_8;
  syncHeader.ErrorStateIndicator = FDCAN_ESI_ACTIVE;
  syncHeader.BitRateSwitch = FDCAN_BRS_OFF;
  syncHeader.FDFormat = FDCAN_CLASSIC_CAN;
  syncHeader.TxEventFifoControl = FDCAN_NO_TX_EVENTS;
  syncHeader.MessageMarker = 0U;
  lastSyncTick = HAL_GetTick() - CAN_TIME_SYNC_PERIOD_MS;
  for (;;)
  {
    txData[0] = (uint8_t)(sequence >> 0U);
    txData[1] = (uint8_t)(sequence >> 8U);
    txData[2] = (uint8_t)(sequence >> 16U);
    txData[3] = (uint8_t)(sequence >> 24U);
    txData[4] = CAN_LOCAL_NODE_TAG;
    txData[5] = 0x03U;
    txData[6] = 0x00U;
    txData[7] = 0x00U;
    if (HAL_FDCAN_AddMessageToTxFifoQ(&hfdcan1, &txHeader, txData) != HAL_OK)
    {
      Error_Handler();
    }
    sequence++;
#if (CAN_LEGACY_TIME_SYNC_ENABLE == 1U)
#if (CAN_NODE_ROLE == CAN_NODE_ROLE_A) /* 浠呰妭鐐?A 璐熻矗鍙戝竷涓绘椂閽熷悓姝ュ抚銆?*/
    if ((HAL_GetTick() - lastSyncTick) >= CAN_TIME_SYNC_PERIOD_MS)
    {
      lastSyncTick = HAL_GetTick();
      syncData[0] = (uint8_t)(syncSequence >> 0U);
      syncData[1] = (uint8_t)(syncSequence >> 8U);
      syncData[2] = (uint8_t)(syncSequence >> 16U);
      syncData[3] = (uint8_t)(syncSequence >> 24U);
      syncData[4] = CAN_TAG_TIME_SYNC;
      syncData[5] = 0x03U;
      syncData[6] = 0x00U;
      syncData[7] = 0x00U;
      transmitTick = HAL_GetTick();
      if (HAL_FDCAN_AddMessageToTxFifoQ(&hfdcan1, &syncHeader, syncData) != HAL_OK)
      {
        Error_Handler();
      }
      syncSequence++;
    }
#endif /* 缁撴潫鑺傜偣 A 涓绘椂閽熷悓姝ュ抚鍙戦€侀€昏緫銆?*/
#endif /* 缁撴潫鏃х増鑷畾涔夋椂闂村悓姝ュ抚鍙戦€併€?*/
    vTaskDelay(pdMS_TO_TICKS(CAN_LOCAL_TX_PERIOD_MS));
  }
}

static void CanRxTask(void *argument)
{
  (void)argument;
  CanRxMessage_t message = {0};
  for (;;)
  {
    if (xQueueReceive(canRxQueue, /* 鎸囧畾鎺ユ敹娑堟伅闃熷垪銆?*/
                      &message, /* 灏嗛槦鍒楁姤鏂囧鍒跺埌鏈湴瀵硅薄銆?*/
                      portMAX_DELAY) == pdPASS) /* 鏃犻檺绛夊緟鐩村埌鏀跺埌鎶ユ枃銆?*/
    {
      if ((message.header.IdType == FDCAN_STANDARD_ID) && /* 妫€鏌ュ抚鏄惁浣跨敤 11 浣嶆爣璇嗙銆?*/
          (message.header.DataLength == FDCAN_DLC_BYTES_8) && /* 妫€鏌ヨ浇鑽锋槸鍚﹀寘鍚?8 涓瓧鑺傘€?*/
          (message.header.FDFormat == FDCAN_CLASSIC_CAN) && /* 妫€鏌ユ帴鏀跺抚鏄惁涓?Classic CAN 鏍煎紡銆?*/
          (message.header.BitRateSwitch == FDCAN_BRS_OFF) && /* 妫€鏌ユ帴鏀跺抚鏄惁鍏抽棴 BRS銆?*/
          (message.data[5] == 0x03U)) /* 妫€鏌ユ姤鏂囨槸鍚﹀睘浜庝笁鑺傜偣 CAN FD 瀹為獙銆?*/
      {
        uint32_t receivedSequence = CanDecodeSequence(message.data);
        uint32_t senderTick = CanDecodeTimestamp(message.data);
        if ((message.header.Identifier == CAN_ID_NODE_A) && /* 妫€鏌ユ槸鍚︿负鑺傜偣 A 鐨?CAN ID銆?*/
            (message.data[4] == CAN_TAG_NODE_A)) /* 妫€鏌ヨ妭鐐?A 鐨勫簲鐢ㄥ眰鏍囪瘑銆?*/
        {
          rxSequenceA = receivedSequence;
          rxCountA++;
          CanUpdateNodeStats(&rxStatsA, receivedSequence, senderTick, CAN_NODE_A_PERIOD_MS);
        }
        else if ((message.header.Identifier == CAN_ID_NODE_B) && /* 妫€鏌ユ槸鍚︿负鑺傜偣 B 鐨?CAN ID銆?*/
                 (message.data[4] == CAN_TAG_NODE_B)) /* 妫€鏌ヨ妭鐐?B 鐨勫簲鐢ㄥ眰鏍囪瘑銆?*/
        {
          rxSequenceB = receivedSequence;
          rxCountB++;
          CanUpdateNodeStats(&rxStatsB, receivedSequence, senderTick, CAN_NODE_B_PERIOD_MS);
        }
        else if ((message.header.Identifier == CAN_ID_NODE_C) && /* 妫€鏌ユ槸鍚︿负鑺傜偣 C 鐨?CAN ID銆?*/
                 (message.data[4] == CAN_TAG_NODE_C)) /* 妫€鏌ヨ妭鐐?C 鐨勫簲鐢ㄥ眰鏍囪瘑銆?*/
        {
          rxSequenceC = receivedSequence;
          rxCountC++;
          CanUpdateNodeStats(&rxStatsC, receivedSequence, senderTick, CAN_NODE_C_PERIOD_MS);
        }
        else /* 褰撳墠鎶ユ枃鐨?ID 鍜岃妭鐐规爣璇嗕笉鏋勬垚鏈夋晥缁勫悎銆?*/
        {
          continue;
        }
        rxSequence = receivedSequence;
        rxCount++;
        HAL_GPIO_TogglePin(APP_LED_GPIO_Port, APP_LED_Pin);
      }
    }
  }
}

static uint32_t CanDecodeTimestamp(const uint8_t *data)
{
  return ((uint32_t)data[CAN_TIMESTAMP_OFFSET + 0U] << 0U) |
         ((uint32_t)data[CAN_TIMESTAMP_OFFSET + 1U] << 8U) |
         ((uint32_t)data[CAN_TIMESTAMP_OFFSET + 2U] << 16U) |
         ((uint32_t)data[CAN_TIMESTAMP_OFFSET + 3U] << 24U);
}

static uint32_t CanGetGlobalTick(void)
{
  return HAL_GetTick() - (uint32_t)canTimeOffsetMs;
}

static void CanUpdateNodeStats(volatile CanNodeStats_t *stats, /* 浼犲叆寰呮洿鏂扮殑鑺傜偣缁熻瀵硅薄銆?*/
                               uint32_t receivedSequence, /* 浼犲叆褰撳墠鎶ユ枃鐨勫簲鐢ㄥ眰搴忓彿銆?*/
                               uint32_t senderTick, /* 浼犲叆褰撳墠鎶ユ枃鐨勫彂閫佺鑺傛媿銆?*/
                               uint32_t expectedPeriodMs) /* 浼犲叆璇ヨ妭鐐圭殑鐞嗚鍛ㄦ湡銆?*/
{
  uint32_t receiveTick = CanGetGlobalTick();
  uint32_t sequenceDelta = 0U;
  uint32_t interArrivalMs = 0U;
  uint32_t jitterMs = 0U;
  if (stats->initialized != 0U)
  {
    sequenceDelta = receivedSequence - stats->lastSequence;
    if ((sequenceDelta > 1U) && (sequenceDelta < 0x80000000U))
    {
      stats->lostCount += sequenceDelta - 1U;
    }
    interArrivalMs = receiveTick - stats->lastReceiveTick;
    stats->interArrivalMs = interArrivalMs;
    if (interArrivalMs >= expectedPeriodMs)
    {
      jitterMs = interArrivalMs - expectedPeriodMs;
    }
    else
    {
      jitterMs = expectedPeriodMs - interArrivalMs;
    }
    stats->jitterMs = jitterMs;
    if (interArrivalMs > stats->maxInterArrivalMs)
    {
      stats->maxInterArrivalMs = interArrivalMs;
    }
    if (jitterMs > stats->maxJitterMs)
    {
      stats->maxJitterMs = jitterMs;
    }
  }
  stats->lastSequence = receivedSequence;
  stats->senderTick = senderTick;
  stats->receiveTick = receiveTick;
  stats->lastReceiveTick = receiveTick;
  stats->receivedCount++;
  stats->initialized = 1U;
}

static uint32_t CanDecodeSequence(const uint8_t *data)
{
  return ((uint32_t)data[0] << 0U) |
         ((uint32_t)data[1] << 8U) |
         ((uint32_t)data[2] << 16U) |
         ((uint32_t)data[3] << 24U);
}

static void OledDashboardTask(void *argument)
{
  (void)argument;
  CanOpenPortDiagnostics_t snapshot = {0};
  char line[24] = {0};
  uint32_t alarmBits = 0U;
  VehicleAlarmStatus_t alarmSnapshot = {0};
  AccidentDetectorStatus_t accidentSnapshot = {0};
  uint8_t displayPage = 0U;
  uint32_t nextPageTick = 0U;
  for (;;)
  {
    if (oledStatus != HAL_OK)
    {
      oledStatus = SSD1306_Init(&hi2c1, (uint16_t)(0x3CU << 1U));
      vTaskDelay(pdMS_TO_TICKS(1000U));
      continue;
    }
    CanOpenPort_GetDiagnostics(&snapshot);
    VehicleAlarm_GetStatus(&alarmSnapshot);
    AccidentDetector_GetStatus(&accidentSnapshot);
    SSD1306_Clear();
    alarmBits = alarmSnapshot.activeAlarmBits;
    {
      uint32_t nowTick = HAL_GetTick();
      if (alarmSnapshot.state != VEHICLE_ALARM_NORMAL)
      {
        displayPage = 1U;
        nextPageTick = nowTick + 3000U;
      }
      else if ((int32_t)(nowTick - nextPageTick) >= 0)
      {
        displayPage = (displayPage == 0U) ? 1U : 0U;
        nextPageTick = nowTick + 3000U;
      }
    }
    if (displayPage == 0U)
    {
    (void)snprintf(line, sizeof(line), "SPD:%lu mm/s", (unsigned long)OD_RAM.x2103_speedMmps);
    SSD1306_SetCursor(0U, 0U);
    SSD1306_WriteString(line);
    (void)snprintf(line, sizeof(line), "GPS:%c SAT:%02u", (OD_RAM.x2105_fixValid != 0U) ? 'Y' : 'N', (unsigned int)OD_RAM.x2104_satelliteCount);
    SSD1306_SetCursor(0U, 1U);
    SSD1306_WriteString(line);
    (void)snprintf(line, sizeof(line), "LAT:%ld", (long)OD_RAM.x2100_latitudeE7);
    SSD1306_SetCursor(0U, 2U);
    SSD1306_WriteString(line);
    (void)snprintf(line, sizeof(line), "LON:%ld", (long)OD_RAM.x2101_longitudeE7);
    SSD1306_SetCursor(0U, 3U);
    SSD1306_WriteString(line);
    (void)snprintf(line, sizeof(line), "AX:%d AY:%d", (int)OD_RAM.x2110_accelX, (int)OD_RAM.x2111_accelY);
    SSD1306_SetCursor(0U, 4U);
    SSD1306_WriteString(line);
    (void)snprintf(line, sizeof(line), "AZ:%d GX:%d", (int)OD_RAM.x2112_accelZ, (int)OD_RAM.x2113_gyroX);
    SSD1306_SetCursor(0U, 5U);
    SSD1306_WriteString(line);
    (void)snprintf(line, sizeof(line), "GY:%d GZ:%d", (int)OD_RAM.x2114_gyroY, (int)OD_RAM.x2115_gyroZ);
    SSD1306_SetCursor(0U, 6U);
    SSD1306_WriteString(line);
    (void)snprintf(line, sizeof(line), "B:%c C:%c A:%s", (snapshot.nodeBHealthy != 0U) ? 'Y' : 'N', (snapshot.nodeCHealthy != 0U) ? 'Y' : 'N', AccidentDetector_GetEventText(accidentSnapshot.eventType));
    SSD1306_SetCursor(0U, 7U);
    SSD1306_WriteString(line);
    }
    else
    {
      (void)snprintf(line, sizeof(line), "STATE:%s", VehicleAlarm_GetStateText(alarmSnapshot.state));
      SSD1306_SetCursor(0U, 0U);
      SSD1306_WriteString(line);
      (void)snprintf(line, sizeof(line), "IMU:%s", (snapshot.imuDataValid != 0U) ? "OK" : "FAIL");
      SSD1306_SetCursor(0U, 1U);
      SSD1306_WriteString(line);
      (void)snprintf(line, sizeof(line), "GNSS:%s", (snapshot.gnssDataValid != 0U) ? "OK" : "FAIL");
      SSD1306_SetCursor(0U, 2U);
      SSD1306_WriteString(line);
      (void)snprintf(line, sizeof(line), "NODE B:%s", (snapshot.nodeBHealthy != 0U) ? "OK" : "FAIL");
      SSD1306_SetCursor(0U, 3U);
      SSD1306_WriteString(line);
      (void)snprintf(line, sizeof(line), "NODE C:%s", (snapshot.nodeCHealthy != 0U) ? "OK" : "FAIL");
      SSD1306_SetCursor(0U, 4U);
      SSD1306_WriteString(line);
      (void)snprintf(line, sizeof(line), "MQTT:%s", (esp32Status.state == ESP32_STATE_MQTT_CONNECTED) ? "OK" : "OFF");
      SSD1306_SetCursor(0U, 5U);
      SSD1306_WriteString(line);
      (void)snprintf(line, sizeof(line), "AL:0x%02lX", (unsigned long)alarmBits);
      SSD1306_SetCursor(0U, 6U);
      SSD1306_WriteString(line);
      (void)snprintf(line, sizeof(line), "BTO:%03lu CTO:%03lu", (unsigned long)snapshot.heartbeatB.timeoutCount, (unsigned long)snapshot.heartbeatC.timeoutCount);
      SSD1306_SetCursor(0U, 7U);
      SSD1306_WriteString(line);
    }
    if (SSD1306_UpdateScreen() != HAL_OK)
    {
      oledStatus = HAL_ERROR;
    }
    vTaskDelay(pdMS_TO_TICKS(200U));
  }
}

/* USER CODE END 4 */

void StartDefaultTask(void *argument)
{
  /* USER CODE BEGIN 5 */
  ICM42688_RawData_t sample = {0};
  BH182_Data_t bh182Snapshot = {0};
  for(;;)
  {
    appHeartbeatTick = HAL_GetTick();
    ESP32_GetStatus(&esp32Status);
    CanOpenPort_Process(1000U);
    CanOpenPort_GetDiagnostics(&diagnostics);
#if (CAN_NODE_ROLE == CAN_NODE_ROLE_A)
    if ((HAL_GetTick() - accidentLastUpdateTick) >= 10U)
    {
      accidentLastUpdateTick = HAL_GetTick();
      AccidentDetector_Update(NULL, 0U);
      AccidentDetector_GetStatus(&accidentStatus);
    }
#endif
    if ((HAL_GetTick() - vehicleAlarmLastUpdateTick) >= 100U)
    {
      vehicleAlarmLastUpdateTick = HAL_GetTick();
      VehicleAlarm_Update((const CanOpenPortDiagnostics_t *)&diagnostics,
                          canBusOffActive,
                          (esp32Status.state == ESP32_STATE_MQTT_CONNECTED) ? 1U : 0U);
      VehicleAlarm_GetStatus(&vehicleAlarmStatus);
    }
    BH182_GetData(&bh182Snapshot);
    bh182Data = bh182Snapshot;
    CanOpenPort_UpdateGnss(&bh182Snapshot);
    if ((icm42688Status == HAL_OK) &&
        ((HAL_GetTick() - icm42688LastSampleTick) >= APP_IMU_SAMPLE_PERIOD_MS))
    {
      icm42688LastSampleTick = HAL_GetTick();
      if (ICM42688_ReadRaw(&sample) == HAL_OK)
      {
        icm42688RawData = sample;
        CanOpenPort_UpdateImu(&sample, 1U);
#if (CAN_NODE_ROLE == CAN_NODE_ROLE_B)
        AccidentDetector_Update(&sample, 1U);
        AccidentDetector_GetStatus(&accidentStatus);
        if ((accidentStatus.active != 0U) &&
            (accidentStatus.eventType != lastReportedAccidentEvent))
        {
          if (CanOpenPort_SendAccidentEvent(accidentStatus.eventType,
                                            accidentStatus.lastEventId,
                                            accidentStatus.peakAccelMg,
                                            accidentStatus.peakGyroDps) == CO_ERROR_NO)
          {
            lastReportedAccidentEvent = accidentStatus.eventType;
          }
        }
        if ((accidentStatus.active == 0U) &&
            (lastReportedAccidentEvent != ACCIDENT_EVENT_NONE))
        {
          CanOpenPort_ClearAccidentError(lastReportedAccidentEvent);
          lastReportedAccidentEvent = ACCIDENT_EVENT_NONE;
        }
#endif
      }
      else
      {
        icm42688Status = HAL_ERROR;
        CanOpenPort_UpdateImu(&sample, 0U);
#if (CAN_NODE_ROLE == CAN_NODE_ROLE_B)
        AccidentDetector_Update(NULL, 0U);
        AccidentDetector_GetStatus(&accidentStatus);
        if ((accidentStatus.active == 0U) &&
            (lastReportedAccidentEvent != ACCIDENT_EVENT_NONE))
        {
          CanOpenPort_ClearAccidentError(lastReportedAccidentEvent);
          lastReportedAccidentEvent = ACCIDENT_EVENT_NONE;
        }
#endif
      }
    }
    vTaskDelay(pdMS_TO_TICKS(1U));
  }
  /* USER CODE END 5 */
}

void Error_Handler(void)
{
  __disable_irq();
  while (1)
  {
  }
}

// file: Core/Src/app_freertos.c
/* USER CODE BEGIN Header */
/**
  ******************************************************************************
  * File Name          : app_freertos.c
  * Description        : Code for freertos applications
  ******************************************************************************
  * @attention
  *
  * Copyright (c) 2026 STMicroelectronics.
  * All rights reserved.
  *
  * This software is licensed under terms that can be found in the LICENSE file
  * in the root directory of this software component.
  * If no LICENSE file comes with this software, it is provided AS-IS.
  *
  ******************************************************************************
  */
/* USER CODE END Header */

#include "FreeRTOS.h"
#include "task.h"
#include "main.h"

/* USER CODE BEGIN Application */

void vApplicationGetIdleTaskMemory(StaticTask_t **ppxIdleTaskTCBBuffer,
                                   StackType_t **ppxIdleTaskStackBuffer,
                                   uint32_t *pulIdleTaskStackSize)
{
  static StaticTask_t idleTaskTCB;
  static StackType_t idleTaskStack[configMINIMAL_STACK_SIZE];
  *ppxIdleTaskTCBBuffer = &idleTaskTCB;
  *ppxIdleTaskStackBuffer = idleTaskStack;
  *pulIdleTaskStackSize = configMINIMAL_STACK_SIZE;
}

void vApplicationGetTimerTaskMemory(StaticTask_t **ppxTimerTaskTCBBuffer,
                                    StackType_t **ppxTimerTaskStackBuffer,
                                    uint32_t *pulTimerTaskStackSize)
{
  static StaticTask_t timerTaskTCB;
  static StackType_t timerTaskStack[configTIMER_TASK_STACK_DEPTH];
  *ppxTimerTaskTCBBuffer = &timerTaskTCB;
  *ppxTimerTaskStackBuffer = timerTaskStack;
  *pulTimerTaskStackSize = configTIMER_TASK_STACK_DEPTH;
}

/* USER CODE END Application */
